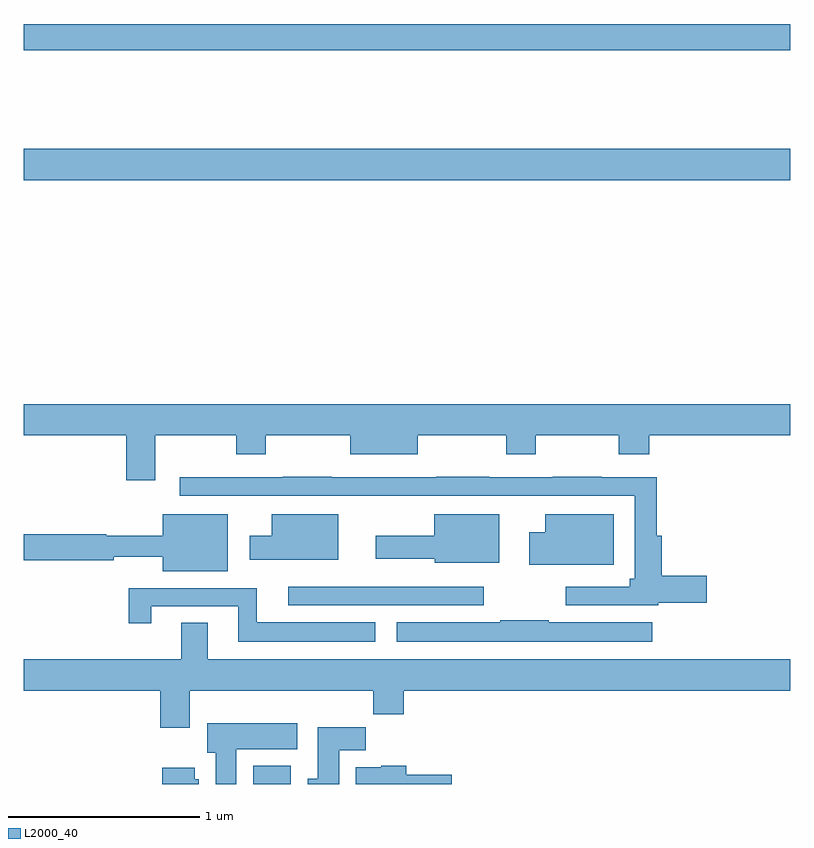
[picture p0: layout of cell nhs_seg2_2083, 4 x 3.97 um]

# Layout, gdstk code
import gdstk
lib = gdstk.Library(unit=1e-6, precision=1e-09)
def R(c, l, rs):  # rectangles x0, y0, x1, y1
    for r in rs: c.add(gdstk.rectangle(r[:2], r[2:], *l))
def P(c, l, *ps):  # polygons
    for p in ps: c.add(gdstk.Polygon(p, *l))
L2000_40 = (2000, 40)

nhs_seg2_2083 = lib.new_cell('nhs_seg2_2083')
R(nhs_seg2_2083, L2000_40, [(220.196,661.8,220.393,661.894), (219,664.952,223,665.116), (219,665.632,223,665.768)])
P(nhs_seg2_2083, L2000_40, [(219.685,663.62),(220.108,663.62),(220.108,663.521),(220.263,663.521),(220.263,663.62),(220.703,663.62),(220.703,663.521),(221.056,663.521),(221.056,663.62),(221.518,663.62),(221.518,663.521),(221.673,663.521),(221.673,663.62),(222.106,663.62),(222.106,663.521),(222.266,663.521),(222.266,663.62),(223,663.62),(223,663.784),(219,663.784),(219,663.62),(219.533,663.62),(219.533,663.387),(219.685,663.387)],
  [(222.312,662.746),(222.565,662.746),(222.565,662.888),(222.329,662.888),(222.329,663.097),(222.305,663.097),(222.305,663.402),(222.017,663.402),(222.017,663.404),(221.761,663.404),(221.761,663.402),(221.429,663.402),(221.429,663.404),(221.152,663.404),(221.152,663.402),(220.607,663.402),(220.607,663.404),(220.351,663.404),(220.351,663.402),(219.813,663.402),(219.813,663.306),(220.738,663.306),(220.738,663.305),(221.045,663.305),(221.045,663.306),(222.189,663.306),(222.189,662.871),(222.164,662.871),(222.164,662.829),(221.829,662.829),(221.829,662.733),(222.312,662.733)],
  [(220.063,663.208),(219.725,663.208),(219.725,663.097),(219.429,663.097),(219.429,663.104),(219,663.104),(219,662.968),(219.47,662.968),(219.47,662.987),(219.725,662.987),(219.725,662.912),(220.063,662.912)],
  [(222.079,663.208),(221.723,663.208),(221.723,663.115),(221.639,663.115),(221.639,662.945),(222.079,662.945)],
  [(221.482,663.208),(221.141,663.208),(221.141,663.097),(220.836,663.097),(220.836,662.975),(221.145,662.975),(221.145,662.954),(221.482,662.954)],
  [(220.642,663.208),(220.295,663.208),(220.295,663.097),(220.178,663.097),(220.178,662.972),(220.642,662.972)],
  [(221.401,662.829),(221.045,662.829),(221.045,662.83),(220.38,662.83),(220.38,662.733),(221.401,662.733)],
  [(220.834,662.644),(220.216,662.644),(220.216,662.823),(219.547,662.823),(219.547,662.64),(219.664,662.64),(219.664,662.727),(220.118,662.727),(220.118,662.543),(220.834,662.543)],
  [(222.28,662.644),(221.741,662.644),(221.741,662.654),(221.488,662.654),(221.488,662.644),(220.947,662.644),(220.947,662.543),(222.28,662.543)],
  [(219.865,662.288),(220.825,662.288),(220.825,662.164),(220.982,662.164),(220.982,662.288),(223,662.288),(223,662.452),(219.961,662.452),(219.961,662.642),(219.821,662.642),(219.821,662.452),(219,662.452),(219,662.288),(219.713,662.288),(219.713,662.094),(219.865,662.094)],
  [(220.108,661.982),(220.426,661.982),(220.426,662.116),(219.956,662.116),(219.956,661.962),(220.001,661.962),(220.001,661.8),(220.108,661.8)],
  [(220.645,661.976),(220.784,661.976),(220.784,662.095),(220.535,662.095),(220.535,661.828),(220.481,661.828),(220.481,661.8),(220.645,661.8)],
  [(221.233,661.848),(220.997,661.848),(220.997,661.894),(220.866,661.894),(220.866,661.888),(220.733,661.888),(220.733,661.8),(221.233,661.8)],
  [(219.913,661.824),(219.892,661.824),(219.892,661.885),(219.722,661.885),(219.722,661.8),(219.913,661.8)])

lib.write_gds('nhs_seg2_2083.gds')
